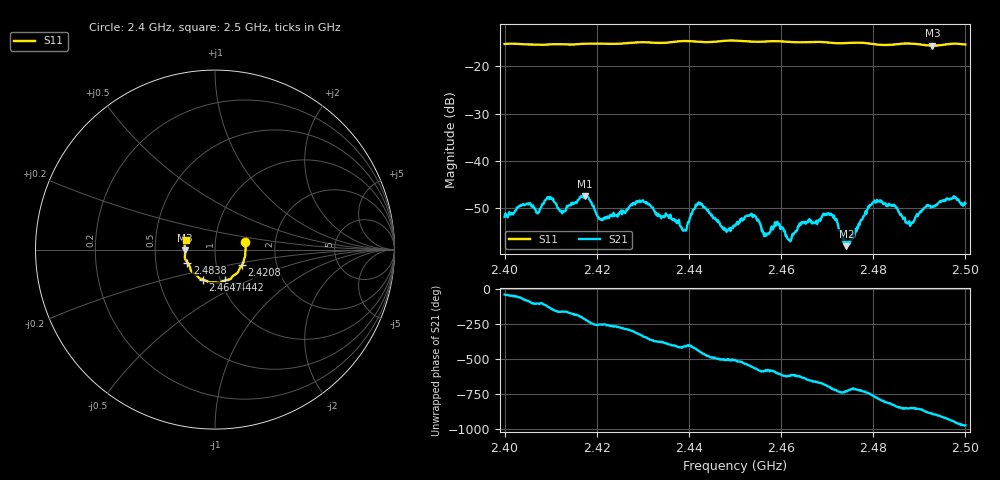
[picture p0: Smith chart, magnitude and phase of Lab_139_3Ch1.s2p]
# Hz S RI R 50
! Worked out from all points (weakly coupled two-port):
!   601 points, 2.4 GHz to 2.5 GHz, reference 50 ohm
!   highest |S21| = -47.43 dB at 2.4175 GHz (marker M1); lowest = -58.0 dB at 2.4742 GHz (marker M2)
!   lowest |S11| = -15.6 dB at 2.4928 GHz (marker M3), VSWR 1.40, Z = 35.8 - j0.35 ohm
!   |S11| at or under -10 dB: start of sweep to end of sweep
!   S12 and S22 are empty: the file has one direction only
!   S11 on the Smith chart (normalised r, x): 2.4 GHz: 1.40, +0.12; 2.4208 GHz: 1.33, -0.24; 2.4442 GHz: 1.05, -0.37; 2.4647 GHz: 0.83, -0.29; 2.4838 GHz: 0.73, -0.11; 2.5 GHz: 0.72, +0.08
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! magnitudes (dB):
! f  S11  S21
! 2.4 GHz  -15.3  -51.8
! 2.4167 GHz  -15.2  -47.5
! 2.4175 GHz  -15.2  -47.4
! 2.4208 GHz  -15.2  -52.4
! 2.4295 GHz  -14.9  -48.7
! 2.4333 GHz  -15.0  -51.2
! 2.439 GHz  -14.6  -54.6
! 2.442 GHz  -14.8  -48.9
! 2.4442 GHz  -14.9  -50.4
! 2.45 GHz  -14.5  -53.8
! 2.4538 GHz  -14.8  -51.9
! 2.4618 GHz  -14.8  -56.7
! 2.4647 GHz  -14.9  -53.1
! 2.4667 GHz  -14.8  -53.2
! 2.471 GHz  -15.0  -51.5
! 2.4742 GHz  -15.1  -58.0
! 2.4798 GHz  -15.2  -48.9
! 2.4833 GHz  -15.5  -49.1
! 2.4838 GHz  -15.4  -49.4
! 2.4878 GHz  -15.2  -52.8
! 2.4928 GHz  -15.6  -49.6
! 2.5 GHz  -15.4  -49.0
